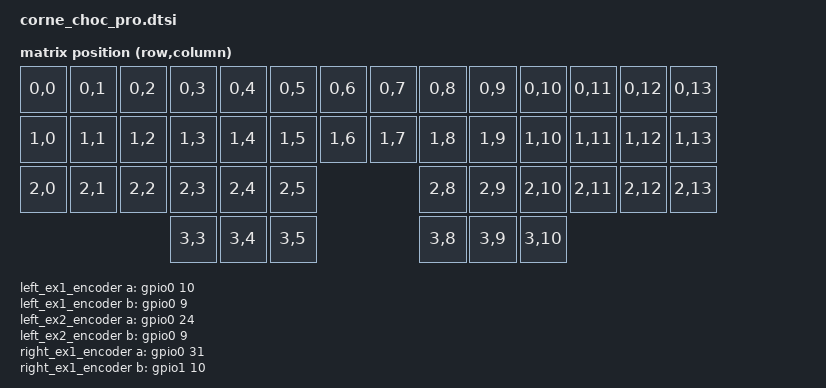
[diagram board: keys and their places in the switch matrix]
/*
 * Copyright (c) 2026 The ZMK Contributors
 *
 * SPDX-License-Identifier: MIT
 */

/dts-v1/;
#include <nordic/nrf52840_qiaa.dtsi>
#include <common/nordic/nrf52840_uf2_boot_mode.dtsi>
#include <dt-bindings/zmk/matrix_transform.h>
#include <dt-bindings/regulator/nrf5x.h>

#include "corne_choc_pro-layouts.dtsi"

&default_layout {
    transform = <&default_transform>;
};

/ {
    chosen {
        zephyr,code-partition = &code_partition;
        zephyr,sram = &sram0;
        zephyr,flash = &flash0;
        zmk,kscan = &kscan0;
        zmk,physical-layout = &default_layout;
    };

    // Columns 0-6 are the left half, 7-13 the right half (the right half's
    // devicetree adds a col-offset of 7).
    default_transform: keymap_transform_0 {
        compatible = "zmk,matrix-transform";
        columns = <14>;
        rows = <4>;
        map = <
            RC(0,0) RC(0,1) RC(0,2) RC(0,3) RC(0,4) RC(0,5) RC(0,6) RC(0,7) RC(0,8) RC(0,9) RC(0,10) RC(0,11) RC(0,12) RC(0,13)
            RC(1,0) RC(1,1) RC(1,2) RC(1,3) RC(1,4) RC(1,5) RC(1,6) RC(1,7) RC(1,8) RC(1,9) RC(1,10) RC(1,11) RC(1,12) RC(1,13)
            RC(2,0) RC(2,1) RC(2,2) RC(2,3) RC(2,4) RC(2,5)                 RC(2,8) RC(2,9) RC(2,10) RC(2,11) RC(2,12) RC(2,13)
                                    RC(3,3) RC(3,4) RC(3,5)                 RC(3,8) RC(3,9) RC(3,10)
        >;
    };

    // Two encoder footprints per half. All four are declared here so the
    // sensor order is the same on both halves; each half enables its own two.
    left_ex1_encoder: encoder_left_ex1 {
        compatible = "alps,ec11";
        a-gpios = <&gpio0 10 (GPIO_ACTIVE_HIGH | GPIO_PULL_UP)>;
        b-gpios = <&gpio0  9 (GPIO_ACTIVE_HIGH | GPIO_PULL_UP)>;
        steps = <80>;
        status = "disabled";
    };

    left_ex2_encoder: encoder_left_ex2 {
        compatible = "alps,ec11";
        a-gpios = <&gpio0 24 (GPIO_ACTIVE_HIGH | GPIO_PULL_UP)>;
        b-gpios = <&gpio0  9 (GPIO_ACTIVE_HIGH | GPIO_PULL_UP)>;
        steps = <80>;
        status = "disabled";
    };

    right_ex1_encoder: encoder_right_ex1 {
        compatible = "alps,ec11";
        a-gpios = <&gpio0 31 (GPIO_ACTIVE_HIGH | GPIO_PULL_UP)>;
        b-gpios = <&gpio1 10 (GPIO_ACTIVE_HIGH | GPIO_PULL_UP)>;
        steps = <80>;
        status = "disabled";
    };

    right_ex2_encoder: encoder_right_ex2 {
        compatible = "alps,ec11";
        a-gpios = <&gpio0 29 (GPIO_ACTIVE_HIGH | GPIO_PULL_UP)>;
        b-gpios = <&gpio1 10 (GPIO_ACTIVE_HIGH | GPIO_PULL_UP)>;
        steps = <80>;
        status = "disabled";
    };

    sensors: sensors {
        compatible = "zmk,keymap-sensors";
        sensors = <&left_ex1_encoder &left_ex2_encoder &right_ex1_encoder &right_ex2_encoder>;
        triggers-per-rotation = <20>;
    };
};

&gpiote {
    status = "okay";
};

&gpio0 {
    status = "okay";
};

&gpio1 {
    status = "okay";
};

zephyr_udc0: &usbd {
    status = "okay";
};

&reg1 {
    regulator-initial-mode = <NRF5X_REG_MODE_DCDC>;
};

// P0.09 and P0.10 are NFC antenna pins by default. This board wires them to
// the left encoders and to two right-hand matrix columns, so they have to be
// plain GPIOs.
&uicr {
    nfct-pins-as-gpios;
};

&pinctrl {
    spi0_default: spi0_default {
        group1 {
            psels = <NRF_PSEL(SPIM_SCK, 0, 17)>,
                <NRF_PSEL(SPIM_MOSI, 0, 20)>,
                <NRF_PSEL(SPIM_MISO, 0, 25)>;
        };
    };

    spi0_sleep: spi0_sleep {
        group1 {
            psels = <NRF_PSEL(SPIM_SCK, 0, 17)>,
                <NRF_PSEL(SPIM_MOSI, 0, 20)>,
                <NRF_PSEL(SPIM_MISO, 0, 25)>;
            low-power-enable;
        };
    };

    i2c1_default: i2c1_default {
        group1 {
            psels = <NRF_PSEL(TWIM_SDA, 0, 4)>,
                <NRF_PSEL(TWIM_SCL, 0, 12)>;
        };
    };

    i2c1_sleep: i2c1_sleep {
        group1 {
            psels = <NRF_PSEL(TWIM_SDA, 0, 4)>,
                <NRF_PSEL(TWIM_SCL, 0, 12)>;
            low-power-enable;
        };
    };
};

// SPI bus of the on-board memory LCD. The display itself is added by the
// borek_view shield; the label keeps the stock nice_view shield usable too.
nice_view_spi: &spi0 {
    compatible = "nordic,nrf-spim";
    pinctrl-0 = <&spi0_default>;
    pinctrl-1 = <&spi0_sleep>;
    pinctrl-names = "default", "sleep";
    cs-gpios = <&gpio0 6 GPIO_ACTIVE_HIGH>;
};

// Battery fuel gauge.
&i2c1 {
    status = "okay";
    compatible = "nordic,nrf-twim";
    pinctrl-0 = <&i2c1_default>;
    pinctrl-1 = <&i2c1_sleep>;
    pinctrl-names = "default", "sleep";
    clock-frequency = <100000>;

    fuelgauge: max17048@36 {
        compatible = "zmk,maxim-max17048";
        reg = <0x36>;
    };
};

&flash0 {
    /*
     * For more information, see:
     * http://docs.zephyrproject.org/latest/devices/dts/flash_partitions.html
     */
    partitions {
        compatible = "fixed-partitions";
        #address-cells = <1>;
        #size-cells = <1>;

        sd_partition: partition@0 {
            label = "softdevice";
            reg = <0x00000000 0x00026000>;
        };
        code_partition: partition@26000 {
            label = "code_partition";
            reg = <0x00026000 0x000c6000>;
        };
        storage_partition: partition@ec000 {
            label = "storage";
            reg = <0x000ec000 0x00008000>;
        };
        boot_partition: partition@f4000 {
            label = "adafruit_boot";
            reg = <0x000f4000 0x0000c000>;
        };
    };
};
